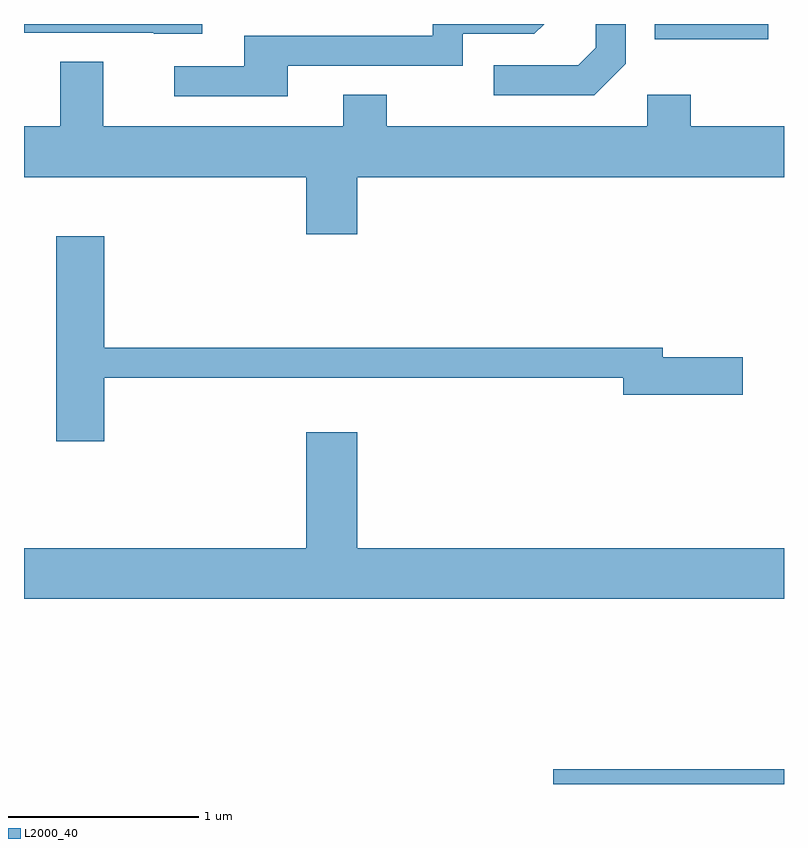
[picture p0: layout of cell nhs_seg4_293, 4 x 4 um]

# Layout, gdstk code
import gdstk
lib = gdstk.Library(unit=1e-6, precision=1e-09)
def R(c, l, rs):  # rectangles x0, y0, x1, y1
    for r in rs: c.add(gdstk.rectangle(r[:2], r[2:], *l))
def P(c, l, *ps):  # polygons
    for p in ps: c.add(gdstk.Polygon(p, *l))
L2000_40 = (2000, 40)

nhs_seg4_293 = lib.new_cell('nhs_seg4_293')
R(nhs_seg4_293, L2000_40, [(196.396,1295.982,197.611,1296.059), (196.931,1299.901,197.529,1299.982)])
P(nhs_seg4_293, L2000_40, [(194.549,1299.982),(193.611,1299.982),(193.611,1299.936),(194.295,1299.936),(194.295,1299.931),(194.549,1299.931)],
  [(194.999,1299.761),(195.919,1299.761),(195.919,1299.931),(196.297,1299.931),(196.348,1299.982),(195.761,1299.982),(195.761,1299.919),(194.771,1299.919),(194.771,1299.759),(194.403,1299.759),(194.403,1299.601),(194.999,1299.601)],
  [(196.779,1299.774),(196.779,1299.982),(196.621,1299.982),(196.621,1299.857),(196.529,1299.764),(196.083,1299.764),(196.083,1299.606),(196.612,1299.606)],
  [(195.364,1299.176),(197.611,1299.176),(197.611,1299.444),(197.119,1299.444),(197.119,1299.609),(196.891,1299.609),(196.891,1299.444),(195.519,1299.444),(195.519,1299.609),(195.291,1299.609),(195.291,1299.444),(194.029,1299.444),(194.029,1299.784),(193.801,1299.784),(193.801,1299.444),(193.611,1299.444),(193.611,1299.176),(195.096,1299.176),(195.096,1298.876),(195.364,1298.876)],
  [(194.034,1298.121),(196.766,1298.121),(196.766,1298.031),(197.394,1298.031),(197.394,1298.229),(196.974,1298.229),(196.974,1298.279),(194.034,1298.279),(194.034,1298.864),(193.781,1298.864),(193.781,1297.786),(194.034,1297.786)],
  [(197.611,1297.224),(195.364,1297.224),(195.364,1297.834),(195.096,1297.834),(195.096,1297.224),(193.611,1297.224),(193.611,1296.956),(197.611,1296.956)])

lib.write_gds('nhs_seg4_293.gds')
